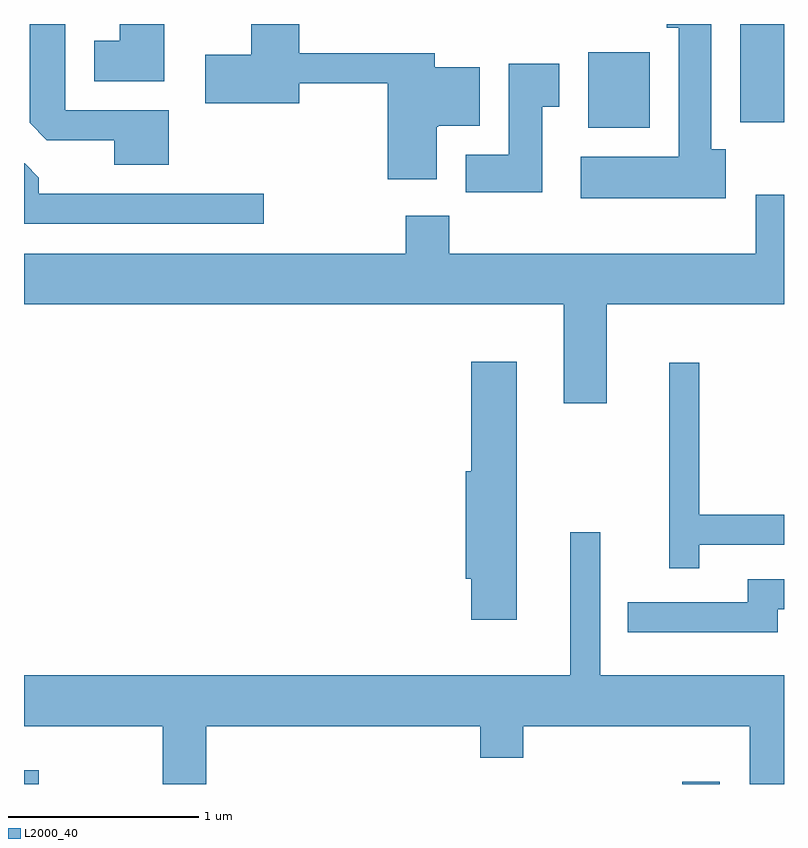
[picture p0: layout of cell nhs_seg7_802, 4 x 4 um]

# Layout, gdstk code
import gdstk
lib = gdstk.Library(unit=1e-6, precision=1e-09)
def R(c, l, rs):  # rectangles x0, y0, x1, y1
    for r in rs: c.add(gdstk.rectangle(r[:2], r[2:], *l))
def P(c, l, *ps):  # polygons
    for p in ps: c.add(gdstk.Polygon(p, *l))
L2000_40 = (2000, 40)

nhs_seg7_802 = lib.new_cell('nhs_seg7_802')
R(nhs_seg7_802, L2000_40, [(209.611,1696.252,209.688,1696.324), (213.076,1696.252,213.274,1696.264), (212.581,1699.706,212.904,1700.104), (213.381,1699.736,213.611,1700.252)])
P(nhs_seg7_802, L2000_40, [(210.374,1699.799),(209.829,1699.799),(209.829,1700.252),(209.641,1700.252),(209.641,1699.732),(209.732,1699.641),(210.086,1699.641),(210.086,1699.511),(210.374,1699.511)],
  [(213.304,1699.594),(213.229,1699.594),(213.229,1700.252),(212.993,1700.252),(212.993,1700.231),(213.056,1700.231),(213.056,1699.554),(212.541,1699.554),(212.541,1699.336),(213.304,1699.336)],
  [(211.784,1699.71),(211.79,1699.71),(211.79,1699.716),(212.009,1699.716),(212.009,1700.024),(211.774,1700.024),(211.774,1700.099),(211.059,1700.099),(211.059,1700.252),(210.806,1700.252),(210.806,1700.089),(210.566,1700.089),(210.566,1699.836),(211.059,1699.836),(211.059,1699.941),(211.526,1699.941),(211.526,1699.436),(211.784,1699.436)],
  [(210.349,1700.252),(210.116,1700.252),(210.116,1700.164),(209.981,1700.164),(209.981,1699.951),(210.349,1699.951)],
  [(212.339,1699.816),(212.429,1699.816),(212.429,1700.044),(212.161,1700.044),(212.161,1699.564),(211.936,1699.564),(211.936,1699.366),(212.339,1699.366)],
  [(210.873,1699.359),(209.689,1699.359),(209.689,1699.444),(209.614,1699.519),(209.611,1699.519),(209.611,1699.201),(210.873,1699.201)],
  [(212.679,1698.776),(213.611,1698.776),(213.611,1699.354),(213.461,1699.354),(213.461,1699.044),(211.849,1699.044),(211.849,1699.244),(211.621,1699.244),(211.621,1699.044),(209.611,1699.044),(209.611,1698.776),(212.451,1698.776),(212.451,1698.256),(212.679,1698.256)],
  [(212.204,1698.474),(211.966,1698.474),(211.966,1697.899),(211.936,1697.899),(211.936,1697.331),(211.966,1697.331),(211.966,1697.116),(212.204,1697.116)],
  [(213.164,1697.511),(213.611,1697.511),(213.611,1697.669),(213.164,1697.669),(213.164,1698.468),(213.006,1698.468),(213.006,1697.388),(213.164,1697.388)],
  [(210.569,1696.556),(212.011,1696.556),(212.011,1696.391),(212.239,1696.391),(212.239,1696.556),(213.431,1696.556),(213.431,1696.252),(213.611,1696.252),(213.611,1696.824),(212.644,1696.824),(212.644,1697.578),(212.486,1697.578),(212.486,1696.824),(209.611,1696.824),(209.611,1696.556),(210.341,1696.556),(210.341,1696.252),(210.569,1696.252)],
  [(213.579,1697.171),(213.611,1697.171),(213.611,1697.329),(213.421,1697.329),(213.421,1697.209),(212.788,1697.209),(212.788,1697.051),(213.579,1697.051)])

lib.write_gds('nhs_seg7_802.gds')
